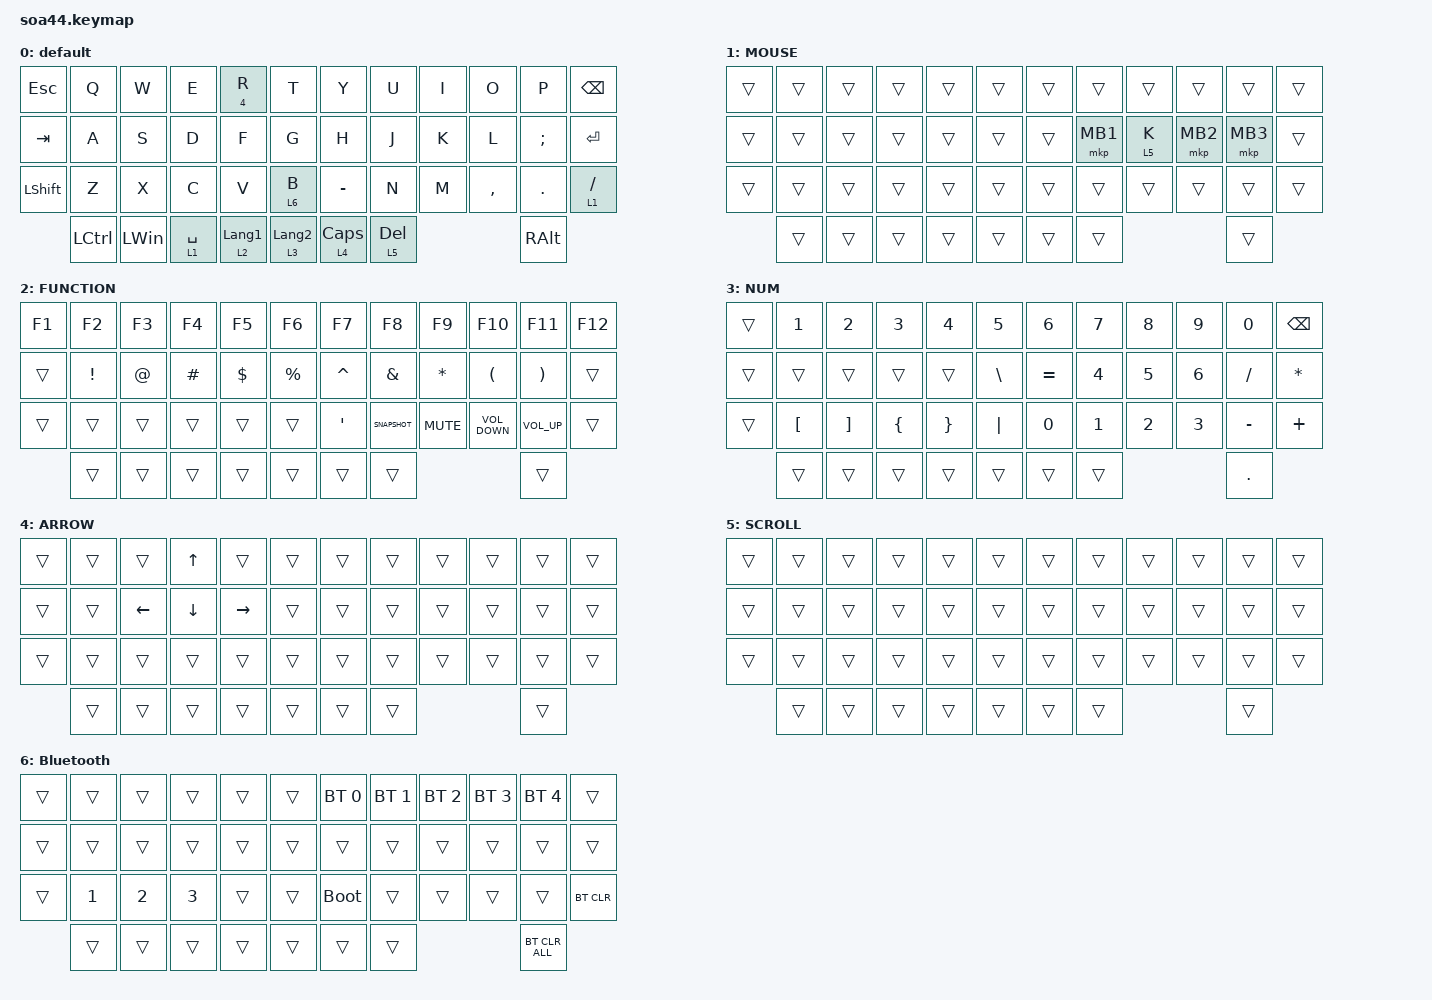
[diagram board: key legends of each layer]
#include <behaviors.dtsi>
#include <dt-bindings/zmk/bt.h>
#include <dt-bindings/zmk/keys.h>
#include <dt-bindings/zmk/pointing.h>

&mt {
    flavor = "balanced";
    quick-tap-ms = <0>;
};

/ {
    combos {
        compatible = "zmk,combos";

        tab {
            bindings = <&kp TAB>;
            key-positions = <11 12>;
        };

        shift_tab {
            bindings = <&kp LS(TAB)>;
            key-positions = <12 13>;
        };

        muhennkann {
            bindings = <&to_layer_0 INT_MUHENKAN>;
            key-positions = <11 10>;
        };

        double_quotation {
            bindings = <&kp DOUBLE_QUOTES>;
            key-positions = <20 21>;
        };

        eq {
            bindings = <&kp EQUAL>;
            key-positions = <24 25>;
        };
    };

    macros {
        to_layer_0: to_layer_0 {
            compatible = "zmk,behavior-macro-one-param";
            #binding-cells = <1>;
            bindings = <&to 0 &macro_param_1to1 &kp MACRO_PLACEHOLDER>;
            label = "TO_LAYER_0";
        };
    };

    behaviors {
        lt_to_layer_0: lt_to_layer_0 {
            compatible = "zmk,behavior-hold-tap";
            label = "LAYER_TAP_TO_0";
            bindings = <&mo>, <&to_layer_0>;

            #binding-cells = <2>;
            tapping-term-ms = <200>;
        };
    };

    keymap {
        compatible = "zmk,keymap";

        default {
            bindings = <
&kp ESCAPE      &kp Q             &kp W         &kp E        &mt NUMBER_4 R    &kp T             &kp Y       &kp U      &kp I  &kp O      &kp P          &kp BACKSPACE
&kp TAB         &kp A             &kp S         &kp D        &kp F             &kp G             &kp H       &kp J      &kp K  &kp L      &kp SEMICOLON  &kp ENTER
&kp LEFT_SHIFT  &kp Z             &kp X         &kp C        &kp V             &lt 6 B           &kp MINUS   &kp N      &kp M  &kp COMMA  &kp DOT        &lt 1 SLASH
                &kp LEFT_CONTROL  &kp LEFT_WIN  &lt 1 SPACE  &lt 2 LANGUAGE_1  &lt 3 LANGUAGE_2  &lt 4 CLCK  &lt 5 DEL                    &kp RIGHT_ALT
            >;
        };

        MOUSE {
            bindings = <
&trans  &trans  &trans  &trans  &trans  &trans  &trans  &trans    &trans   &trans    &trans    &trans
&trans  &trans  &trans  &trans  &trans  &trans  &trans  &mkp MB1  &lt 5 K  &mkp MB2  &mkp MB3  &trans
&trans  &trans  &trans  &trans  &trans  &trans  &trans  &trans    &trans   &trans    &trans    &trans
        &trans  &trans  &trans  &trans  &trans  &trans  &trans                       &trans
            >;
        };

        FUNCTION {
            bindings = <
&kp F1  &kp F2           &kp F3       &kp F4    &kp F5      &kp F6       &kp F7     &kp F8          &kp F9        &kp F10               &kp F11                &kp F12
&trans  &kp EXCLAMATION  &kp AT_SIGN  &kp HASH  &kp DOLLAR  &kp PERCENT  &kp CARET  &kp AMPERSAND   &kp ASTERISK  &kp LEFT_PARENTHESIS  &kp RIGHT_PARENTHESIS  &trans
&trans  &trans           &trans       &trans    &trans      &trans       &kp SQT    &kp C_SNAPSHOT  &kp K_MUTE    &kp C_VOLUME_DOWN     &kp C_VOL_UP           &trans
        &trans           &trans       &trans    &trans      &trans       &trans     &trans                                              &trans
            >;
        };

        NUM {
            bindings = <
&trans  &kp N1            &kp N2             &kp N3          &kp N4           &kp N5         &kp N6        &kp N7        &kp N8        &kp N9        &kp N0      &kp BACKSPACE
&trans  &trans            &trans             &trans          &trans           &kp BACKSLASH  &kp EQUAL     &kp NUMBER_4  &kp N5        &kp N6        &kp SLASH   &kp ASTERISK
&trans  &kp LEFT_BRACKET  &kp RIGHT_BRACKET  &kp LEFT_BRACE  &kp RIGHT_BRACE  &kp PIPE       &kp NUMBER_0  &kp NUMBER_1  &kp NUMBER_2  &kp NUMBER_3  &kp MINUS   &kp PLUS
        &trans            &trans             &trans          &trans           &trans         &trans        &trans                                    &kp PERIOD
            >;
        };

        ARROW {
            bindings = <
&trans  &trans  &trans    &kp UP    &trans     &trans  &trans  &trans  &trans  &trans  &trans  &trans
&trans  &trans  &kp LEFT  &kp DOWN  &kp RIGHT  &trans  &trans  &trans  &trans  &trans  &trans  &trans
&trans  &trans  &trans    &trans    &trans     &trans  &trans  &trans  &trans  &trans  &trans  &trans
        &trans  &trans    &trans    &trans     &trans  &trans  &trans                  &trans
            >;
        };

        SCROLL {
            bindings = <
&trans  &trans  &trans  &trans  &trans  &trans  &trans  &trans  &trans  &trans  &trans  &trans
&trans  &trans  &trans  &trans  &trans  &trans  &trans  &trans  &trans  &trans  &trans  &trans
&trans  &trans  &trans  &trans  &trans  &trans  &trans  &trans  &trans  &trans  &trans  &trans
        &trans  &trans  &trans  &trans  &trans  &trans  &trans                  &trans
            >;
        };

        Bluetooth {
            bindings = <
&trans  &trans        &trans        &trans        &trans  &trans  &bt BT_SEL 0  &bt BT_SEL 1  &bt BT_SEL 2  &bt BT_SEL 3  &bt BT_SEL 4    &trans
&trans  &trans        &trans        &trans        &trans  &trans  &trans        &trans        &trans        &trans        &trans          &trans
&trans  &kp NUMBER_1  &kp NUMBER_2  &kp NUMBER_3  &trans  &trans  &bootloader   &trans        &trans        &trans        &trans          &bt BT_CLR
        &trans        &trans        &trans        &trans  &trans  &trans        &trans                                    &bt BT_CLR_ALL
            >;
        };
    };
};
